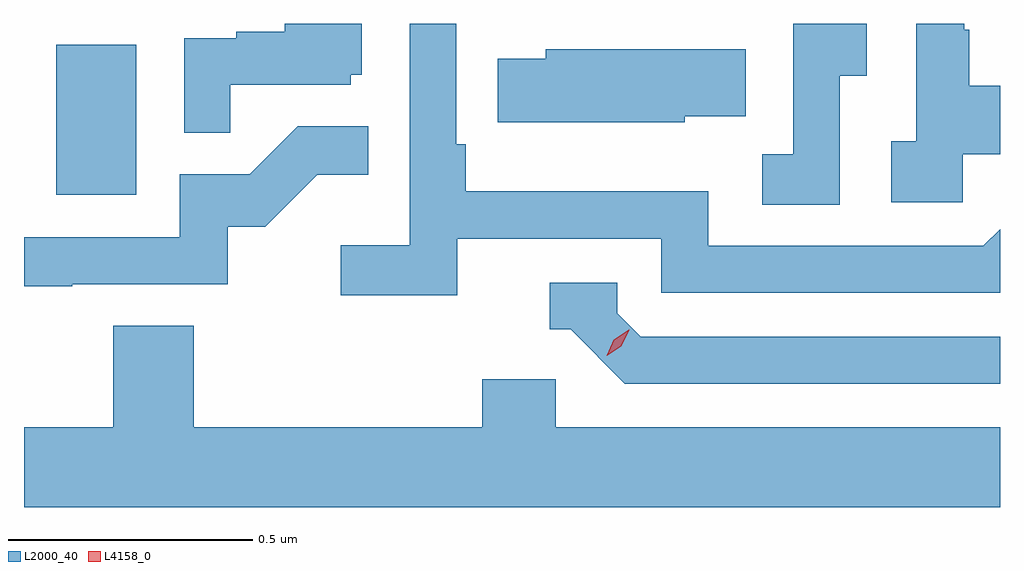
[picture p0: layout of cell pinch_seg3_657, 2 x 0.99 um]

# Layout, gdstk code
import gdstk
lib = gdstk.Library(unit=1e-6, precision=1e-09)
def R(c, l, rs):  # rectangles x0, y0, x1, y1
    for r in rs: c.add(gdstk.rectangle(r[:2], r[2:], *l))
def P(c, l, *ps):  # polygons
    for p in ps: c.add(gdstk.Polygon(p, *l))
L2000_40 = (2000, 40)
L4158_0 = (4158, 0)

pinch_seg3_657 = lib.new_cell('pinch_seg3_657')
R(pinch_seg3_657, L2000_40, [(1019.354,685.572,1019.518,685.879)])
P(pinch_seg3_657, L2000_40, [(1021.212,685.655),(1021.288,685.655),(1021.288,685.795),(1021.225,685.795),(1021.225,685.91),(1021.215,685.91),(1021.215,685.922),(1021.116,685.922),(1021.116,685.682),(1021.065,685.682),(1021.065,685.557),(1021.212,685.557)],
  [(1019.711,685.797),(1019.958,685.797),(1019.958,685.818),(1019.98,685.818),(1019.98,685.922),(1019.822,685.922),(1019.822,685.906),(1019.723,685.906),(1019.723,685.893),(1019.616,685.893),(1019.616,685.699),(1019.711,685.699)],
  [(1020.176,685.482),(1020.594,685.482),(1020.594,685.371),(1021.288,685.371),(1021.288,685.501),(1021.254,685.467),(1020.69,685.467),(1020.69,685.579),(1020.193,685.579),(1020.193,685.675),(1020.174,685.675),(1020.174,685.922),(1020.078,685.922),(1020.078,685.468),(1019.937,685.468),(1019.937,685.366),(1020.176,685.366)],
  [(1020.96,685.816),(1021.015,685.816),(1021.015,685.922),(1020.864,685.922),(1020.864,685.655),(1020.801,685.655),(1020.801,685.552),(1020.96,685.552)],
  [(1020.642,685.733),(1020.767,685.733),(1020.767,685.87),(1020.357,685.87),(1020.357,685.851),(1020.259,685.851),(1020.259,685.721),(1020.642,685.721)],
  [(1019.387,685.389),(1019.706,685.389),(1019.706,685.506),(1019.782,685.506),(1019.889,685.613),(1019.993,685.613),(1019.993,685.712),(1019.849,685.712),(1019.751,685.614),(1019.607,685.614),(1019.607,685.485),(1019.288,685.485),(1019.288,685.384),(1019.387,685.384)],
  [(1021.288,685.281),(1020.552,685.281),(1020.504,685.329),(1020.504,685.392),(1020.365,685.392),(1020.365,685.296),(1020.408,685.296),(1020.519,685.185),(1021.288,685.185)],
  [(1021.288,685.096),(1020.378,685.096),(1020.378,685.194),(1020.227,685.194),(1020.227,685.096),(1019.636,685.096),(1019.636,685.304),(1019.471,685.304),(1019.471,685.096),(1019.288,685.096),(1019.288,684.932),(1021.288,684.932)])
P(pinch_seg3_657, L4158_0, [(1020.482,685.242),(1020.482,685.242),(1020.497,685.275),(1020.527,685.295),(1020.528,685.295),(1020.528,685.295),(1020.512,685.262),(1020.482,685.242)])

lib.write_gds('pinch_seg3_657.gds')
